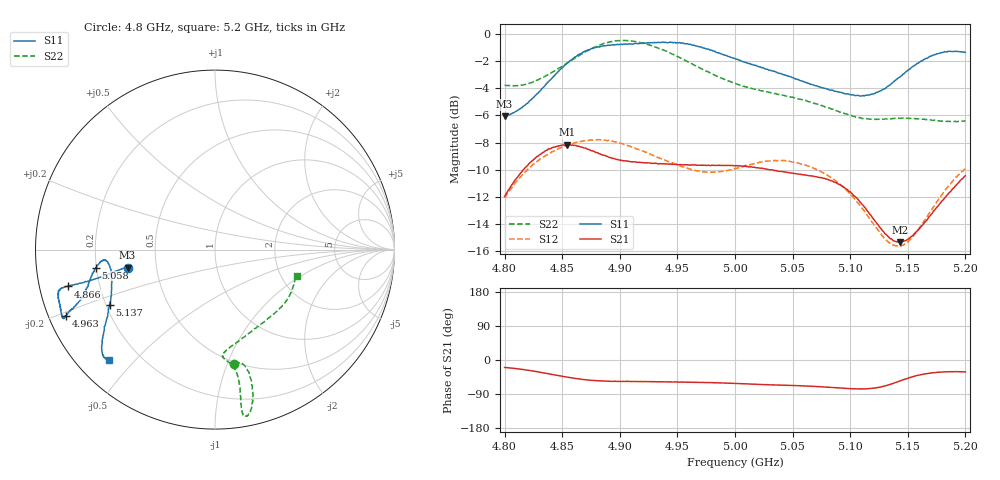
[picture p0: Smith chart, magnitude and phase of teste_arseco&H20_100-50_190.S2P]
! Network Analyzer HP8722D
! Hewlett-Packard
! Data name: Linha & Wilkinson
! Saver's name: Rodrigo Anjos
! Comments: Teste da utilização de aquisição
! continua pelo VNA HP8722D
! Time and date: 6/5/2025 14:09
!  Frequency  S11  S21  S12  S22
# HZ  S  MA R 50
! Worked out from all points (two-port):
!   401 points, 4.8 GHz to 5.2 GHz, reference 50 ohm
!   highest |S21| = -8.16 dB at 4.854 GHz (marker M1); lowest = -15.3 dB at 5.143 GHz (marker M2)
!   |S21| within 3 dB of the highest: 4.806 GHz to 5.092 GHz (286.5 MHz wide, 5.79 % of centre); 5.191602 GHz to end of sweep
!   lowest |S11| = -6.1 dB at 4.8 GHz (marker M3), VSWR 2.98, Z = 16.9 - j4.55 ohm
!   |S11| at or under -10 dB: nowhere
!   |S22| runs from -6.5 to -0.5 dB; largest |S21 - S12| = 0.62
!   S11 on the Smith chart (normalised r, x): 4.8 GHz: 0.34, -0.09; 4.866 GHz: 0.09, -0.12; 4.963 GHz: 0.05, -0.21; 5.058 GHz: 0.20, -0.07; 5.137 GHz: 0.21, -0.23; 5.2 GHz: 0.09, -0.42
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4.8e9  0.4972 -168.3  0.2525 -19.8  0.2492 -141.0  0.6479 -80.4
4.826e9  0.5887 -167.4  0.3472 -29.8  0.3335 -144.7  0.6674 -75.6
4.854e9  0.7777 -166.0  0.3908 -45.2  0.3891 -150.0  0.7792 -74.8
4.866e9  0.8446 -165.9  0.3833 -50.4  0.4017 -152.0  0.8379 -75.3
4.867e9  0.8485 -166.0  0.3835 -50.9  0.4025 -152.1  0.8434 -75.5
4.898e9  0.9148 -163.0  0.3451 -56.3  0.3976 -156.6  0.9428 -79.0
4.914e9  0.922 -159.7  0.338 -56.6  0.3779 -157.3  0.936 -80.3
4.934e9  0.9289 -156.5  0.3323 -57.6  0.3502 -155.8  0.8823 -80.5
4.963e9  0.908 -156.1  0.3297 -58.8  0.3162 -149.3  0.7741 -79.8
5e9  0.8104 -159.1  0.3269 -61.8  0.3197 -137.3  0.6569 -81.4
5.034e9  0.7277 -165.2  0.3142 -65.9  0.3418 -134.4  0.6031 -85.6
5.058e9  0.6711 -171.4  0.3038 -68.1  0.3316 -136.2  0.5735 -84.4
5.067e9  0.6505 -173.0  0.3002 -69.3  0.3225 -137.0  0.558 -82.6
5.086e9  0.6157 -174.4  0.285 -73.0  0.2909 -138.6  0.5245 -75.2
5.103e9  0.5956 -171.6  0.2544 -76.1  0.2495 -138.8  0.4972 -65.2
5.116e9  0.5958 -165.5  0.2204 -75.8  0.2119 -135.5  0.4868 -55.6
5.134e9  0.6452 -154.2  0.1781 -65.2  0.1705 -120.7  0.487 -43.3
5.137e9  0.6621 -152.5  0.1741 -62.2  0.1678 -116.8  0.4886 -41.4
5.143e9  0.6921 -149.4  0.1713 -55.6  0.1659 -108.8  0.489 -38.0
5.155e9  0.7605 -144.2  0.1828 -43.4  0.1809 -94.0  0.4883 -31.9
5.173e9  0.8362 -139.1  0.2243 -33.5  0.233 -81.0  0.4814 -24.3
5.2e9  0.8531 -133.6  0.3008 -31.4  0.3191 -77.1  0.4779 -17.6
